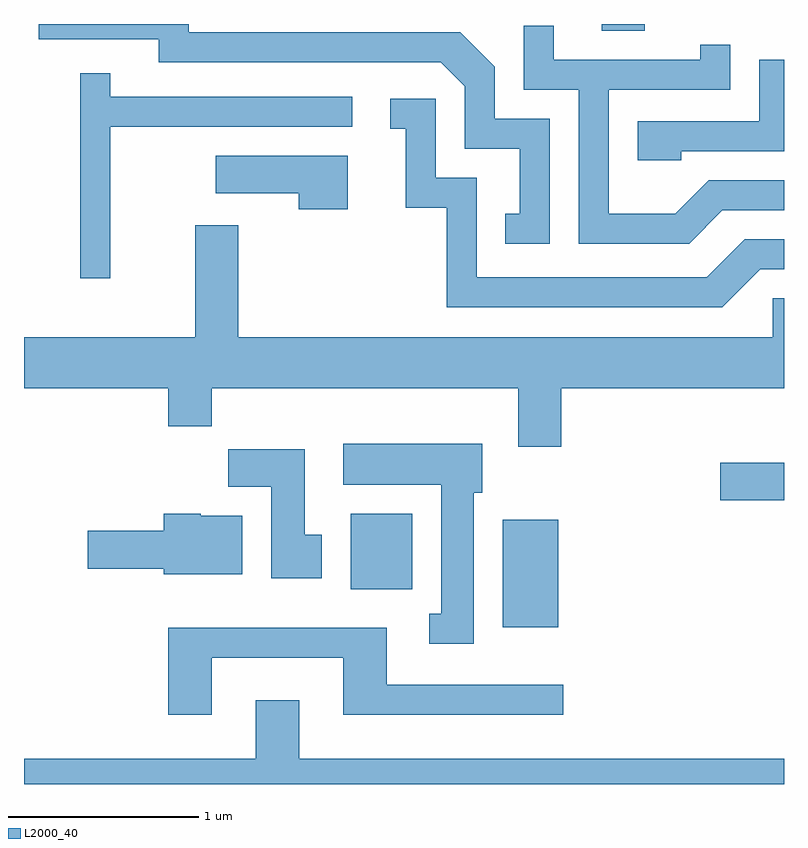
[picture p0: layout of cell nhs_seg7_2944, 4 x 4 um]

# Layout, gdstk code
import gdstk
lib = gdstk.Library(unit=1e-6, precision=1e-09)
def R(c, l, rs):  # rectangles x0, y0, x1, y1
    for r in rs: c.add(gdstk.rectangle(r[:2], r[2:], *l))
def P(c, l, *ps):  # polygons
    for p in ps: c.add(gdstk.Polygon(p, *l))
L2000_40 = (2000, 40)

nhs_seg7_2944 = lib.new_cell('nhs_seg7_2944')
R(nhs_seg7_2944, L2000_40, [(278.131,1693.076,278.424,1693.644), (277.331,1693.276,277.654,1693.674), (279.276,1693.746,279.611,1693.944), (278.651,1696.216,278.879,1696.252)])
P(nhs_seg7_2944, L2000_40, [(278.379,1695.754),(278.089,1695.754),(278.089,1696.027),(277.907,1696.209),(276.479,1696.209),(276.479,1696.252),(275.688,1696.252),(275.688,1696.171),(276.321,1696.171),(276.321,1696.051),(277.804,1696.051),(277.931,1695.924),(277.931,1695.596),(278.221,1695.596),(278.221,1695.254),(278.143,1695.254),(278.143,1695.096),(278.379,1695.096)],
  [(279.287,1695.271),(279.611,1695.271),(279.611,1695.429),(279.214,1695.429),(279.039,1695.254),(278.689,1695.254),(278.689,1695.906),(279.329,1695.906),(279.329,1696.143),(279.171,1696.143),(279.171,1696.064),(278.399,1696.064),(278.399,1696.243),(278.241,1696.243),(278.241,1695.906),(278.531,1695.906),(278.531,1695.096),(279.112,1695.096)],
  [(279.069,1695.581),(279.611,1695.581),(279.611,1696.064),(279.481,1696.064),(279.481,1695.739),(278.841,1695.739),(278.841,1695.536),(279.069,1695.536)],
  [(276.064,1695.711),(277.338,1695.711),(277.338,1695.869),(276.064,1695.869),(276.064,1695.993),(275.906,1695.993),(275.906,1694.913),(276.064,1694.913)],
  [(279.487,1694.961),(279.611,1694.961),(279.611,1695.119),(279.404,1695.119),(279.204,1694.919),(277.994,1694.919),(277.994,1695.444),(277.779,1695.444),(277.779,1695.859),(277.538,1695.859),(277.538,1695.701),(277.621,1695.701),(277.621,1695.286),(277.836,1695.286),(277.836,1694.761),(279.287,1694.761)],
  [(277.314,1695.559),(276.621,1695.559),(276.621,1695.361),(277.056,1695.361),(277.056,1695.276),(277.314,1695.276)],
  [(278.439,1694.336),(279.611,1694.336),(279.611,1694.809),(279.551,1694.809),(279.551,1694.604),(276.739,1694.604),(276.739,1695.194),(276.511,1695.194),(276.511,1694.604),(275.611,1694.604),(275.611,1694.336),(276.371,1694.336),(276.371,1694.136),(276.599,1694.136),(276.599,1694.336),(278.211,1694.336),(278.211,1694.026),(278.439,1694.026)],
  [(277.979,1693.786),(278.024,1693.786),(278.024,1694.044),(277.291,1694.044),(277.291,1693.826),(277.806,1693.826),(277.806,1693.149),(277.743,1693.149),(277.743,1692.991),(277.979,1692.991)],
  [(277.179,1693.564),(277.089,1693.564),(277.089,1694.014),(276.686,1694.014),(276.686,1693.816),(276.911,1693.816),(276.911,1693.336),(277.179,1693.336)],
  [(276.759,1693.664),(276.54,1693.664),(276.54,1693.674),(276.346,1693.674),(276.346,1693.584),(275.946,1693.584),(275.946,1693.386),(276.346,1693.386),(276.346,1693.356),(276.759,1693.356)],
  [(276.599,1692.916),(277.291,1692.916),(277.291,1692.616),(278.448,1692.616),(278.448,1692.774),(277.519,1692.774),(277.519,1693.074),(276.371,1693.074),(276.371,1692.616),(276.599,1692.616)],
  [(279.611,1692.384),(277.059,1692.384),(277.059,1692.694),(276.831,1692.694),(276.831,1692.384),(275.611,1692.384),(275.611,1692.252),(279.611,1692.252)])

lib.write_gds('nhs_seg7_2944.gds')
